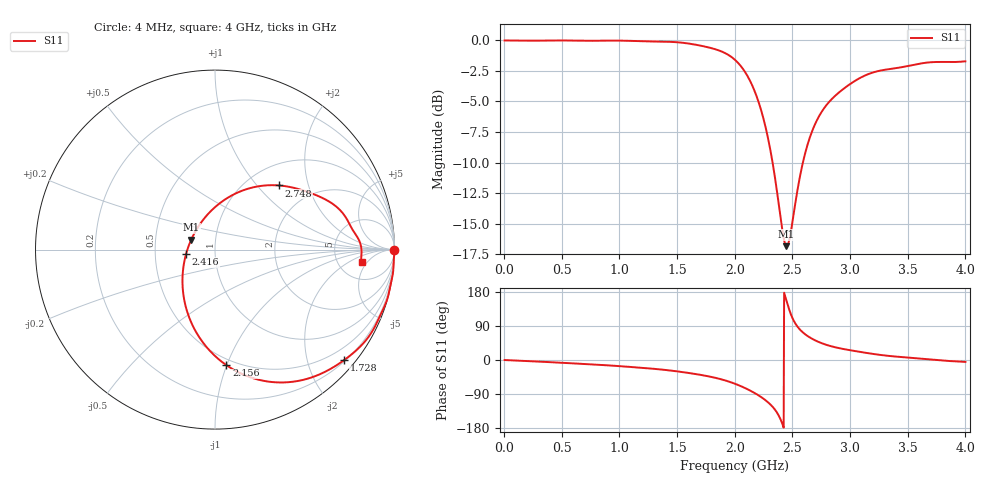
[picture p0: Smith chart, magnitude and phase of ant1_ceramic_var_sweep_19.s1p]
! TOUCHSTONE file generated by CST MICROWAVE STUDIO
! Date and time: Fri May  6 09:22:55 2022
! Project name: ant1_ceramic_sweep_10porcent.cst
! Parameters = {e=0.035; h=1.6; i=0.8; l1=0.5; l2=17; ls=80; wl=1.7; ws=29.7}
! Header version: 2018
! Port assignment regex: !\s*Touchstone port\s*([0-9]+)\s*=\s*(CST MWS port|CST DS port)\s*([0-9]+|Zmin|Zmax)\s*\(\"(.*)\"\)(\s*mode\s*([0-9]+))?.*
! Touchstone port assignment:
! Touchstone port 1 = CST MWS port 1 ("")
# GHz S DB R 50
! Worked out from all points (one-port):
!   1000 points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, 4 MHz to 4 GHz, reference 50 ohm
!   lowest |S11| = -16.9 dB at 2.448 GHz (marker M1), VSWR 1.34, Z = 38.1 + j4.33 ohm
!   |S11| at or under -10 dB: 2.328 GHz to 2.591 GHz (262.9 MHz wide, 10.7 % of centre)
!   S11 on the Smith chart (normalised r, x): 4 MHz: open; 1.728 GHz: 0.23, -2.69; 2.156 GHz: 0.45, -1.00; 2.416 GHz: 0.72, -0.04; 2.748 GHz: 1.38, +1.32; 4 GHz: 8.54, -3.74
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0.004  -0.00 -0.1
0.504  -0.00 -7.4
1.004  -0.01 -16.3
1.332  -0.09 -24.2
1.504  -0.15 -30.1
1.728  -0.47 -40.6
1.876  -0.87 -50.4
1.94  -1.16 -56.1
2.004  -1.61 -63.0
2.084  -2.51 -73.3
2.156  -3.78 -84.4
2.232  -5.83 -98.5
2.296  -8.35 -113.7
2.356  -11.70 -134.2
2.416  -15.76 -171.5
2.448  -16.85 157.2
2.472  -16.37 133.1
2.504  -14.63 108.2
2.56  -11.41 82.0
2.612  -9.19 67.5
2.676  -7.31 55.1
2.748  -5.93 45.0
2.856  -4.66 34.7
3.004  -3.55 25.6
3.216  -2.57 15.3
3.504  -2.09 6.4
3.7  -1.78 1.1
4  -1.71 -5.0
